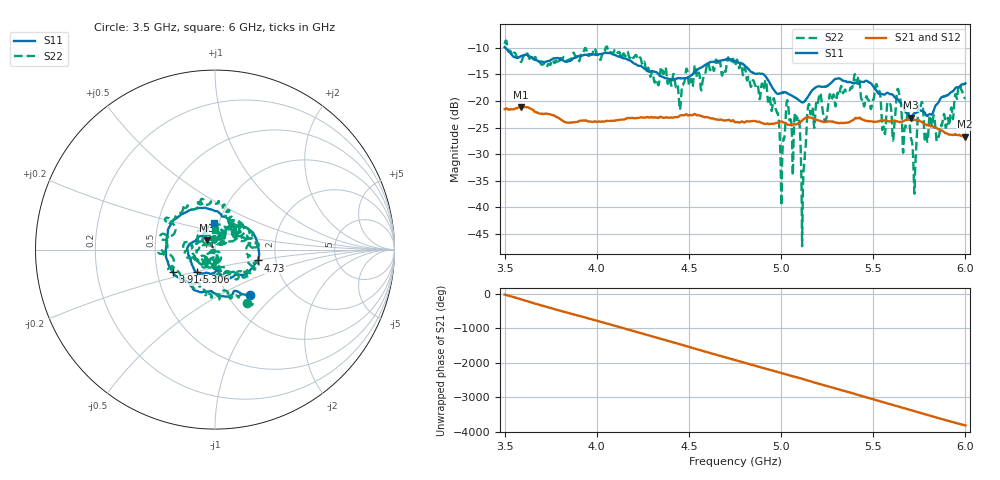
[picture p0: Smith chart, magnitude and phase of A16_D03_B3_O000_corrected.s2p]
! Created with skrf 1.9.0 (http://scikit-rf.org).
# Hz S RI R 50.0
!freq ReS11 ImS11 ReS21 ImS21 ReS12 ImS12 ReS22 ImS22
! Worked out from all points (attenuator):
!   1601 points, 3.5 GHz to 6 GHz, reference 50 ohm
!   highest |S21| = -21.11 dB at 3.591 GHz (marker M1); lowest = -26.7 dB at 5.997 GHz (marker M2)
!   lowest |S11| = -23.2 dB at 5.705 GHz (marker M3), VSWR 1.15, Z = 45.3 + j4.65 ohm
!   |S11| at or under -10 dB: 3.505 GHz to end of sweep
!   |S22| runs from -47.3 to -8.6 dB; largest |S21 - S12| = 0.00098
!   S11 on the Smith chart (normalised r, x): 3.5 GHz: 1.26, -0.72; 3.914 GHz: 0.61, -0.16; 4.73 GHz: 1.61, -0.21; 5.306 GHz: 0.79, -0.21; 6 GHz: 0.95, +0.28
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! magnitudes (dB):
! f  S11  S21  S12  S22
! 3.5 GHz  -9.9  -21.6  -21.5  -9.2
! 3.591 GHz  -11.5  -21.1  -21.1  -12.6
! 3.914 GHz  -11.5  -23.7  -23.7  -11.2
! 3.917 GHz  -11.5  -23.7  -23.7  -10.8
! 4.334 GHz  -15.0  -23.2  -23.1  -17.0
! 4.73 GHz  -12.2  -23.8  -23.7  -12.7
! 4.75 GHz  -12.5  -24.0  -23.9  -13.4
! 4.967 GHz  -18.2  -24.2  -24.2  -20.7
! 5.005 GHz  -18.4  -23.9  -23.9  -32.7
! 5.034 GHz  -18.6  -24.5  -24.4  -19.9
! 5.088 GHz  -19.6  -24.3  -24.3  -23.5
! 5.119 GHz  -20.2  -23.5  -23.5  -36.1
! 5.145 GHz  -19.3  -23.0  -23.0  -21.3
! 5.167 GHz  -18.1  -23.2  -23.2  -21.4
! 5.306 GHz  -15.8  -24.2  -24.1  -18.5
! 5.584 GHz  -18.6  -23.8  -23.8  -20.4
! 5.705 GHz  -23.2  -23.6  -23.6  -27.0
! 5.723 GHz  -22.3  -23.6  -23.5  -37.5
! 5.756 GHz  -21.8  -23.9  -23.8  -21.0
! 5.852 GHz  -20.4  -25.3  -25.2  -26.8
! 5.997 GHz  -16.8  -26.7  -26.7  -19.5
! 6 GHz  -16.7  -26.7  -26.7  -19.4
